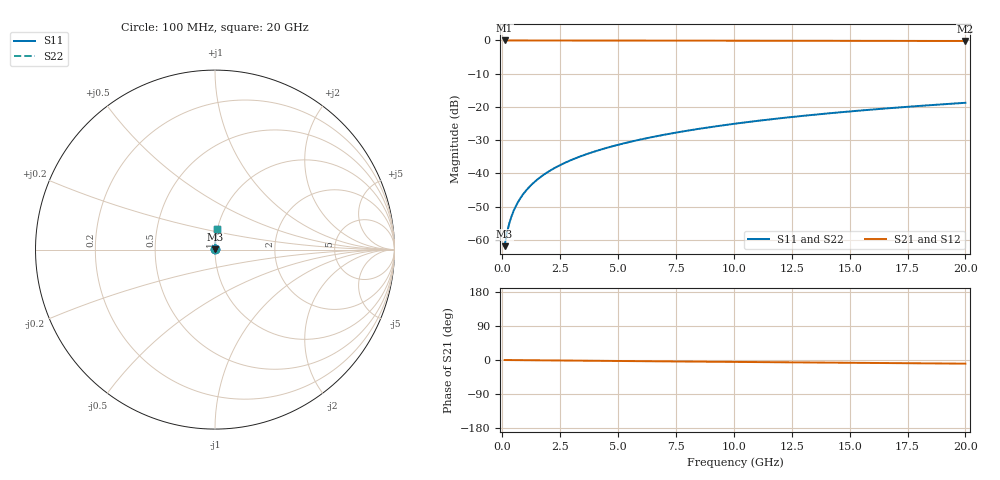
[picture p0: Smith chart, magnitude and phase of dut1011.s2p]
! Touchstone file exported from HFSS 2024.1.0
!  File:  C:/UserFiles/LocalFiles/RDL_TSV_Batchsim/temp_RDL_bottom_1011_1780050386.aedt
!  Generated:  06:28:17 PM May 29, 2026
!  Design:  RDL_bottom
!  Project:  temp_RDL_bottom_1011_1780050386
!  Setup:  Setup1
!  Solution:  Sweep
! Variables:
!  dtsv = 10.80580581um
!  hbump = 3um
!  htsv = 91.83um
!  ldown = 106.35um
!  lrdl = 100um
!  p = 40
!  p1 = 46.91um
!  rhole = 1um
!  t = 450um
!  tdown = 4.76um
!  trdl = 3.915915916um
!  wdown = 18.86um
!  wrdl = 20um
# GHz S MA R 50.000000
! Terminal data exported
! Port[1] = RDL1_T1
! Port[2] = RDL1_T2
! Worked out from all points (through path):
!   200 points, 100 MHz to 20 GHz, reference 50 ohm
!   highest |S21| = 0.00 dB at 100 MHz (marker M1); lowest = -0.2 dB at 20 GHz (marker M2)
!   group delay of S21, straight-line fit = 1.33 ps
!   lowest |S11| = -61.9 dB at 100 MHz (marker M3), VSWR 1.00, Z = 50.1 + j0.0568 ohm
!   |S11| at or under -10 dB: start of sweep to end of sweep
!   |S22| runs from -61.9 to -18.8 dB; largest |S21 - S12| = 2.1e-15
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0.1  0.000805 44.9  0.9994 -0.1  0.9994 -0.1  0.000805 44.9
! Gamma 0 0 0 0
! Port Impedance 50 0 50 0
0.2  0.001267 61.9  0.9994 -0.1  0.9994 -0.1  0.001267 61.9
0.3  0.001765 69.5  0.9994 -0.2  0.9994 -0.2  0.001765 69.5
0.4  0.002272 73.8  0.9993 -0.2  0.9993 -0.2  0.002272 73.8
0.5  0.002784 76.6  0.9993 -0.3  0.9993 -0.3  0.002784 76.6
0.6  0.0033 78.6  0.9993 -0.3  0.9993 -0.3  0.0033 78.6
0.8  0.004339 81.3  0.9992 -0.4  0.9992 -0.4  0.004339 81.3
1.1  0.005913 83.6  0.9991 -0.6  0.9991 -0.6  0.005913 83.6
1.5  0.008025 85.3  0.999 -0.8  0.999 -0.8  0.008025 85.3
1.8  0.009617 86.1  0.9989 -1.0  0.9989 -1.0  0.009617 86.1
2.1  0.01121 86.7  0.9987 -1.1  0.9987 -1.1  0.01121 86.7
2.7  0.01442 87.5  0.9983 -1.4  0.9983 -1.4  0.01442 87.5
3.5  0.01873 88.1  0.9978 -1.9  0.9978 -1.9  0.01873 88.1
4.2  0.02255 88.5  0.9972 -2.2  0.9972 -2.2  0.02255 88.5
5  0.02695 88.7  0.9964 -2.6  0.9964 -2.6  0.02695 88.7
5.9  0.03197 88.9  0.9955 -3.1  0.9955 -3.1  0.03197 88.9
6.8  0.03707 88.9  0.9946 -3.5  0.9946 -3.5  0.03707 88.9
8.4  0.04629 88.7  0.9929 -4.3  0.9929 -4.3  0.04629 88.7
10.1  0.05627 88.3  0.9911 -5.1  0.9911 -5.1  0.05627 88.3
13.4  0.07593 86.9  0.9878 -6.6  0.9878 -6.6  0.07593 86.9
16.7  0.09569 85.3  0.9845 -8.1  0.9845 -8.1  0.09569 85.3
20  0.1153 83.5  0.9812 -9.6  0.9812 -9.6  0.1153 83.5
